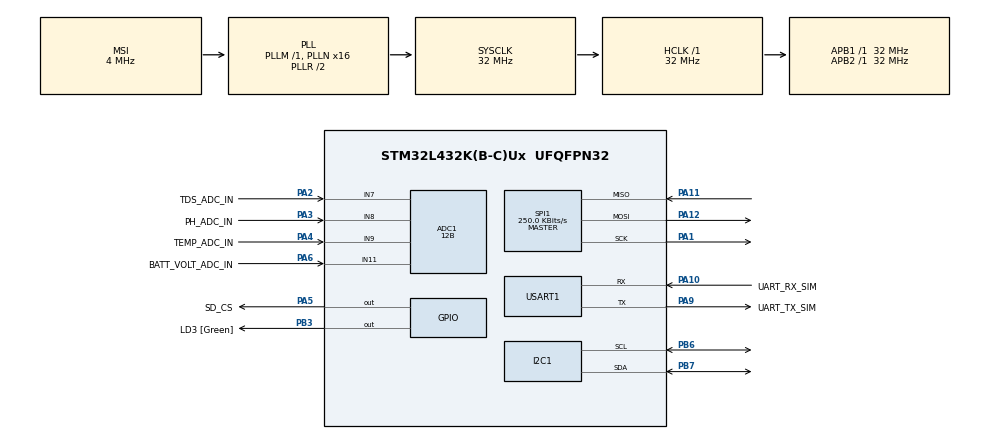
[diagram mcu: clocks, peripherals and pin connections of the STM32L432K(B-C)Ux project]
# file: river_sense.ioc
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ADC1.Channel-1\#ChannelRegularConversion=ADC_CHANNEL_7
ADC1.Channel-2\#ChannelRegularConversion=ADC_CHANNEL_8
ADC1.Channel-3\#ChannelRegularConversion=ADC_CHANNEL_9
ADC1.Channel-4\#ChannelRegularConversion=ADC_CHANNEL_11
ADC1.ContinuousConvMode=DISABLE
ADC1.NbrOfConversion=4
ADC1.NbrOfConversionFlag=1
ADC1.OffsetNumber-1\#ChannelRegularConversion=ADC_OFFSET_NONE
ADC1.OffsetNumber-2\#ChannelRegularConversion=ADC_OFFSET_NONE
ADC1.OffsetNumber-3\#ChannelRegularConversion=ADC_OFFSET_NONE
ADC1.OffsetNumber-4\#ChannelRegularConversion=ADC_OFFSET_NONE
ADC1.Rank-1\#ChannelRegularConversion=1
ADC1.Rank-2\#ChannelRegularConversion=2
ADC1.Rank-3\#ChannelRegularConversion=3
ADC1.Rank-4\#ChannelRegularConversion=4
ADC1.Resolution=ADC_RESOLUTION_12B
ADC1.SamplingTime-1\#ChannelRegularConversion=ADC_SAMPLETIME_12CYCLES_5
ADC1.SamplingTime-2\#ChannelRegularConversion=ADC_SAMPLETIME_12CYCLES_5
ADC1.SamplingTime-3\#ChannelRegularConversion=ADC_SAMPLETIME_12CYCLES_5
ADC1.SamplingTime-4\#ChannelRegularConversion=ADC_SAMPLETIME_12CYCLES_5
ADC1.master=1
Dma.ADC1.0.Direction=DMA_PERIPH_TO_MEMORY
Dma.ADC1.0.Instance=DMA1_Channel1
Dma.ADC1.0.MemDataAlignment=DMA_MDATAALIGN_HALFWORD
Dma.ADC1.0.MemInc=DMA_MINC_ENABLE
Dma.ADC1.0.Mode=DMA_NORMAL
Dma.ADC1.0.PeriphDataAlignment=DMA_PDATAALIGN_HALFWORD
Dma.ADC1.0.PeriphInc=DMA_PINC_DISABLE
Dma.ADC1.0.Priority=DMA_PRIORITY_LOW
Dma.Request0=ADC1
FATFS._CODE_PAGE=1
I2C1.Timing=0x00707CBB
Mcu.Family=STM32L4
Mcu.Name=STM32L432K(B-C)Ux
Mcu.Package=UFQFPN32
NVIC.ADC1_IRQn=true\:0\:0\:false\:false\:true\:true\:true\:true
NVIC.DMA1_Channel1_IRQn=true\:0\:0\:false\:false\:true\:false\:true\:true
NVIC.I2C1_ER_IRQn=true\:0\:0\:false\:false\:true\:true\:true\:true
NVIC.I2C1_EV_IRQn=true\:0\:0\:false\:false\:true\:true\:true\:true
NVIC.PriorityGroup=NVIC_PRIORITYGROUP_4
NVIC.RTC_Alarm_IRQn=true\:0\:0\:false\:false\:true\:true\:true\:true
NVIC.RTC_WKUP_IRQn=true\:0\:0\:false\:false\:true\:true\:true\:true
NVIC.TIM2_IRQn=true\:0\:0\:false\:false\:true\:true\:true\:true
NVIC.USART1_IRQn=true\:0\:0\:false\:false\:true\:true\:true\:true
PA0.GPIO_Label=MCO [High speed clock in]
PA0.Mode=HSE-External-Clock-Source-for-LittleOrca
PA0.Signal=RCC_CK_IN
PA1.Mode=Full_Duplex_Master
PA1.Signal=SPI1_SCK
PA10.GPIO_Label=UART_RX_SIM
PA10.Mode=Asynchronous
PA10.Signal=USART1_RX
PA11.Mode=Full_Duplex_Master
PA11.Signal=SPI1_MISO
PA12.Mode=Full_Duplex_Master
PA12.Signal=SPI1_MOSI
PA13\ (JTMS-SWDIO).GPIO_Label=SWDIO
PA13\ (JTMS-SWDIO).Mode=Serial_Wire
PA13\ (JTMS-SWDIO).Signal=SYS_JTMS-SWDIO
PA14\ (JTCK-SWCLK).GPIO_Label=SWCLK
PA14\ (JTCK-SWCLK).Mode=Serial_Wire
PA14\ (JTCK-SWCLK).Signal=SYS_JTCK-SWCLK
PA15\ (JTDI).GPIO_Label=VCP_RX
PA15\ (JTDI).Signal=USART2_RX
PA2.GPIO_Label=TDS_ADC_IN
PA2.Signal=ADCx_IN7
PA3.GPIO_Label=PH_ADC_IN
PA3.Signal=ADCx_IN8
PA4.GPIO_Label=TEMP_ADC_IN
PA4.Signal=ADCx_IN9
PA5.GPIO_Label=SD_CS
PA5.Signal=GPIO_Output
PA6.GPIO_Label=BATT_VOLT_ADC_IN
PA6.Signal=ADCx_IN11
PA9.GPIO_Label=UART_TX_SIM
PA9.Mode=Asynchronous
PA9.Signal=USART1_TX
PB3\ (JTDO-TRACESWO).GPIO_Label=LD3 [Green]
PB3\ (JTDO-TRACESWO).Signal=GPIO_Output
PB6.Mode=I2C
PB6.Signal=I2C1_SCL
PB7.Mode=I2C
PB7.Signal=I2C1_SDA
PC14-OSC32_IN\ (PC14).Mode=LSE-External-Oscillator
PC14-OSC32_IN\ (PC14).Signal=RCC_OSC32_IN
PC15-OSC32_OUT\ (PC15).Mode=LSE-External-Oscillator
PC15-OSC32_OUT\ (PC15).Signal=RCC_OSC32_OUT
ProjectManager.HeapSize=0x200
ProjectManager.StackSize=0x400
ProjectManager.TargetToolchain=STM32CubeIDE
RCC.ADCFreq_Value=32000000
RCC.AHBFreq_Value=32000000
RCC.APB1Freq_Value=32000000
RCC.APB1TimFreq_Value=32000000
RCC.APB2Freq_Value=32000000
RCC.APB2TimFreq_Value=32000000
RCC.CortexFreq_Value=32000000
RCC.HCLKFreq_Value=32000000
RCC.HSE_VALUE=8000000
RCC.HSI16_VALUE=16000000
RCC.HSI48_VALUE=48000000
RCC.HSI_VALUE=16000000
RCC.MSI_VALUE=4000000
RCC.PLLMUL=RCC_PLLMUL_4
RCC.PLLN=16
RCC.PLLSAI1N=16
RCC.RTCClockSelection=RCC_RTCCLKSOURCE_LSE
RCC.SYSCLKFreq_VALUE=32000000
RCC.SYSCLKSource=RCC_SYSCLKSOURCE_PLLCLK
RCC.USBFreq_Value=32000000
RCC.VCOOutputFreq_Value=64000000
RTC.Alarm=RTC_ALARM_A
RTC.Alarm_B=RTC_ALARM_B
RTC.Date=12
RTC.Hours=13
RTC.Hours_A=10
RTC.Minutes=15
RTC.Minutes_A=10
RTC.Month=RTC_MONTH_AUGUST
RTC.Seconds=30
RTC.Seconds_A=10
RTC.SubSeconds_A=10
RTC.WeekDay=RTC_WEEKDAY_TUESDAY
RTC.Year=97
SH.ADCx_IN11.0=ADC1_IN11,IN11-Single-Ended
SH.ADCx_IN7.0=ADC1_IN7,IN7-Single-Ended
SH.ADCx_IN8.0=ADC1_IN8,IN8-Single-Ended
SH.ADCx_IN9.0=ADC1_IN9,IN9-Single-Ended
SPI1.BaudRatePrescaler=SPI_BAUDRATEPRESCALER_128
SPI1.CalculateBaudRate=250.0 KBits/s
SPI1.DataSize=SPI_DATASIZE_8BIT
SPI1.Direction=SPI_DIRECTION_2LINES
SPI1.Mode=SPI_MODE_MASTER
SPI1.VirtualType=VM_MASTER
TIM2.Period=9999
TIM2.Prescaler=319
USART1.VirtualMode-Asynchronous=VM_ASYNC
VP_FATFS_VS_Generic.Mode=User_defined
VP_RTC_VS_RTC_Activate.Mode=RTC_Enabled
VP_RTC_VS_RTC_Alarm_A_Intern.Mode=Alarm A
VP_RTC_VS_RTC_Alarm_B_Intern.Mode=Alarm B
VP_RTC_VS_RTC_Calendar.Mode=RTC_Calendar
VP_RTC_VS_RTC_WakeUp_intern.Mode=WakeUp
VP_TIM2_VS_ClockSourceINT.Mode=Internal
board=NUCLEO-L432KC

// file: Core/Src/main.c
/* USER CODE BEGIN Header */
/**
  ******************************************************************************
  * @file           : main.c
  * @brief          : Main program body
  ******************************************************************************
  * @attention
  *
  * Copyright (c) 2022 STMicroelectronics.
  * All rights reserved.
  *
  * This software is licensed under terms that can be found in the LICENSE file
  * in the root directory of this software component.
  * If no LICENSE file comes with this software, it is provided AS-IS.
  *
  ******************************************************************************
  */
/* USER CODE END Header */
#include "main.h"
#include "fatfs.h"

/* USER CODE BEGIN Includes */
#include <string.h>
#include <stdio.h>
#include <sim7070g.h>
#include "INA219.h"
/* USER CODE END Includes */

ADC_HandleTypeDef hadc1;
DMA_HandleTypeDef hdma_adc1;

I2C_HandleTypeDef hi2c1;

RTC_HandleTypeDef hrtc;

SPI_HandleTypeDef hspi1;

TIM_HandleTypeDef htim2;

UART_HandleTypeDef huart1;

/* USER CODE BEGIN PV */
//INA219_t ina219;
//uint16_t vbus, vshunt, current = 0;
HAL_StatusTypeDef status;
//uint8_t buf[5] = {0};
extern int adrs_219;
float ina_curr = 0;
float ina_vol = 0;
float ina_pwr = 0;
float ina_shunt = 0;
uint8_t cnt = 0;
uint8_t channel=0;

// External variables begin
extern char ATcommand[80];
extern simStateType simState;
extern uint8_t serialRX_Data;
// External variables end

uint8_t ATisOK = 0;
uint8_t slot = 0;
uint8_t rx_buffer[100] = {0};
uint8_t rx_index = 0;
uint8_t rx_data;
uint8_t data_received[100] = {0};
uint8_t data_index = 0;

volatile uint8_t isLD3_Flicker = 1;

uint8_t collectDataPeriod = 0x2; // Time in minutes between data collections

char timeAfterAlarm[20] = {0};

// -- Collecting Data Flags and Variables -- //
uint32_t post_time = 0; //time between posts
uint32_t collect_time = 0; //time between data collections
volatile uint8_t collect_data_flag = 0; //should data be collected?
uint8_t time_synced_flag = 0; //has time been sync?
volatile uint8_t sim_flag = 0; //should SIM operations commence?

// -- Posting Data To RiverSense Flags and Variables -- //
volatile uint8_t make_post_flag = 0; //POST needs to be made
char formsToPost_0[TOTAL_FORMS][FORMS_LENGTH] = {0};
char formsToPost_1[TOTAL_FORMS][FORMS_LENGTH] = {0};
uint16_t formsToPost_0_Index = 0;
uint16_t formsToPost_1_Index = 0;
uint8_t currentFormArr = 0;

// -- Date and Time variables -- //
uint8_t currentDateTime[6] = {0}; // year, month, day, hour, minute, second
uint32_t alarmA_SecondsOffset = 10; // alarm to collect data
uint32_t alarmB_SecondsOffset = 60; // alarm to POST data

char currentTime[20] = {0};

// -- ADC Variables --- //
volatile uint16_t adcResultsDMA[4];
const int adcChannelCount = sizeof(adcResultsDMA) / sizeof(adcResultsDMA[0]);
uint32_t TDS_digital[10] = {0};
uint8_t TDS_digital_index = 0;
float TDS_value = 0.0;

/* USER CODE END PV */

void SystemClock_Config(void);
static void MX_GPIO_Init(void);
static void MX_DMA_Init(void);
static void MX_USART1_UART_Init(void);
static void MX_TIM2_Init(void);
static void MX_SPI1_Init(void);
static void MX_RTC_Init(void);
static void MX_ADC1_Init(void);
static void MX_I2C1_Init(void);
/* USER CODE BEGIN PFP */
void power_on_blocking(void);
void power_off_blocking(void);
void set_time(void);
void get_time(char* currentTime);
void set_alarm_A(uint32_t secondsOffset);
void set_alarm_B(uint32_t secondsOffset);
/* USER CODE END PFP */

/* USER CODE BEGIN 0 */

// ADC Callback
void HAL_ADC_ConvCpltCallback(ADC_HandleTypeDef *hadc) {
	// TODO: unpack ADC data
	TDS_digital[TDS_digital_index++] = adcResultsDMA[0];
	if (TDS_digital_index == 10) {
		uint32_t tempSum = 0;
		for (int i = 0; i < 10; ++i) {
			tempSum += TDS_digital[i];
		}
		TDS_value = tempSum/10;
		TDS_digital_index = 0;
	}

}

// UART Transmit Callback
void HAL_UART_TxCpltCallback(UART_HandleTypeDef *huart)
{
  /* Prevent unused argument(s) compilation warning */
  UNUSED(huart);
}

// UART Receive Callback
void HAL_UART_RxCpltCallback(UART_HandleTypeDef *huart) {
	if(huart->Instance==USART1) {
		SIM_serialRX_Handler(serialRX_Data);
		// Enabling interrupt receive again
		HAL_UART_Receive_IT(&huart1, &serialRX_Data, 1); // receive data (one character only)
  }

}

// TIM Callback (100ms)
void HAL_TIM_PeriodElapsedCallback(TIM_HandleTypeDef *htim) {

	// Toggle LED; Just for fun
	if (isLD3_Flicker) {
		HAL_GPIO_TogglePin(LD3_GPIO_Port, LD3_Pin);
	}
	else {
		HAL_GPIO_WritePin(LD3_GPIO_Port, LD3_Pin, GPIO_PIN_SET);
	}

	// Call SIM Module handler
	if (sim_flag) {
		if (simState == SIM_STANDBY) {
			simState = SIM_INIT;
		}
		SIM_Handler();
	}

	HAL_ADC_Start_DMA(&hadc1, (uint32_t*) adcResultsDMA, 4); // Start DMA for ADC
}

// Alarm A callback function (for reading data from sensors)
void HAL_RTC_AlarmAEventCallback(RTC_HandleTypeDef *hrtc) {
	get_time(currentTime);
	// TODO: write ADC data to forms
	if (currentFormArr==0) {
		sprintf(formsToPost_0[formsToPost_0_Index], "\"batt_%d\",\"%s,%.2f\"",formsToPost_0_Index,currentTime,TDS_value);
		++formsToPost_0_Index;
	}
	else if (currentFormArr==1) {
		sprintf(formsToPost_1[formsToPost_1_Index], "\"batt_%d\",\"%s,%.2f\"",formsToPost_1_Index,currentTime,TDS_value);
		++formsToPost_1_Index;
	}
	// TODO: write ADC data to SD card

	set_alarm_A(alarmA_SecondsOffset);
	return;
}

// Alarm B callback function (for posting data to RiverSense)
void HAL_RTCEx_AlarmBEventCallback(RTC_HandleTypeDef *hrtc) {
	make_post_flag = 1;
	sim_flag = 1;
	currentFormArr = !currentFormArr; // Switch between forms
	set_alarm_B(alarmB_SecondsOffset);
	return;
}

/* USER CODE END 0 */

int main(void)
{

  /* MCU Configuration--------------------------------------------------------*/

  /* Reset of all peripherals, Initializes the Flash interface and the Systick. */
  HAL_Init();

  /* Configure the system clock */
  SystemClock_Config();

  /* Initialize all configured peripherals */
  MX_GPIO_Init();
  MX_DMA_Init();
  MX_USART1_UART_Init();
  MX_TIM2_Init();
  MX_SPI1_Init();
  MX_FATFS_Init();
  MX_RTC_Init();
  MX_ADC1_Init();
  MX_I2C1_Init();
  /* USER CODE BEGIN 2 */
//  status = HAL_I2C_GetState(&hi2c1);
//  status = HAL_I2C_IsDeviceReady(&hi2c1, 0x40, 5, 3000);

//
//  adrs_219 = 0x40;
////  setCalibration_32V_2A();
//  setCalibration_32V_2A();
//  ina_curr = getCurrent_mA();
//  ina_vol = getBusVoltage_V();
//  ina_shunt = getShuntVoltage_mV();
//  ina_pwr = getPower_mW();

//  for (int var = 0; var < 100; ++var) {
//	adrs_219 = 0x40;
//	ina_curr = getCurrent_mA();
//	ina_vol = getBusVoltage_V();
//	ina_shunt = getShuntVoltage_mV();
//	channel = 1;
//}

//  set_time();
//
//
//
//
//  uint32_t offsetTest = 4*60 + 70;
//  set_alarm_A(offsetTest);
//
//
//	RTC_DateTypeDef cDate;
//	RTC_TimeTypeDef cTime;
//	RTC_AlarmTypeDef sAlarm;
//
//	HAL_RTC_GetAlarm(&hrtc, &sAlarm, RTC_ALARM_A, RTC_FORMAT_BIN);
//	HAL_RTC_GetTime(&hrtc, &cTime, RTC_FORMAT_BIN);
//	HAL_RTC_GetDate(&hrtc, &cDate, RTC_FORMAT_BIN);

  // Baud rate synchronization
  // SIM7000 Series_UART_ApplicationNote_V1.01 p11
  // TODO: incorporate this in a state
  HAL_UART_Transmit_IT(&huart1, (uint8_t *) "AT\r\n", strlen("AT\r\n"));
  HAL_Delay(1000);
  HAL_UART_Transmit_IT(&huart1, (uint8_t *) "AT\r\n", strlen("AT\r\n"));
  HAL_Delay(1000);

  // Enable Timer(s)
  HAL_TIM_Base_Start_IT(&htim2);

  // Start ADC from DMA
  HAL_ADC_Start_DMA(&hadc1, (uint32_t*) adcResultsDMA, 4);

//  /// -------------------- SD CARD -------------------- ///
//  // Variables for FatFs
//  FATFS FatFs; // FatFs handle
//  FIL fil; // file handle
//  FRESULT fres; // result after operations
//
//  // Open the file system
//  fres = f_mount(&FatFs, "", 1); // 1: mount now
//  if (fres != FR_OK) {
//	  isLD3_Flicker = 0; // mount error
//  }
//
//  // Get statistics for the SD card
//  DWORD free_clusters, free_sectors, total_sectors;
//
//  FATFS* getFreeFs;
//
//  fres = f_getfree("", &free_clusters, &getFreeFs);
//  if (fres != FR_OK) {
//	  isLD3_Flicker = 0; // error
//  }
//
//  // Formula from ChaN's documentation
//  total_sectors = (getFreeFs->n_fatent - 2) * getFreeFs->csize;
//  free_sectors = free_clusters * getFreeFs->csize;
////  myprintf("SD card stats:\r\n%10lu KiB total drive space.\r\n%10lu KiB available.\r\n", total_sectors / 2, free_sectors / 2);
//
//  // Open file "test.txt"
//  fres = f_open(&fil, "test.txt", FA_READ | FA_WRITE);
//  if (fres != FR_OK) {
//	  isLD3_Flicker = 0; // error opening
//  }
//
//  // Read 30 bytes from "test.txt" on the SD card
//  BYTE readBuf[100];
//
//  // Can either use f_read OR f_gets to get data out of files
//  // f_gets is a wrapper on f_read that does some string formatting :)
//  TCHAR* rres = f_gets((TCHAR*)readBuf, sizeof(readBuf), &fil);
//  if(rres != 0) {
//	  // String has been read
//	  isLD3_Flicker = 1;
//  } else {
//	  // Error
//	  isLD3_Flicker = 0;
//  }
//
//  uint8_t dataToWrite[] = "When you poop in your dreams you poop for real\n";
//  uint nWritten = 0;
//  fres = f_write(&fil, dataToWrite, sizeof(dataToWrite)-1, &nWritten);
//  if (fres != FR_OK) {
//	  isLD3_Flicker = 0; // error writing
//  }
//
//  fres = f_write(&fil, dataToWrite, sizeof(dataToWrite)-1, &nWritten);
//  if (fres != FR_OK) {
//	  isLD3_Flicker = 0; // error writing
//  }
//
//  fres = f_write(&fil, dataToWrite, sizeof(dataToWrite)-1, &nWritten);
//  if (fres != FR_OK) {
//	  isLD3_Flicker = 0; // error writing
//  }
//
//  // Close the file
//  f_close(&fil);
//  /// ------------------------------------------------- ///

  /* USER CODE END 2 */

  /* Infinite loop */
  /* USER CODE BEGIN WHILE */
  while (1) {

	  if (!time_synced_flag) { // Time should be sync from web server
		  sim_flag = 1; // SIM operations should commence
		  make_post_flag = 0; // No POST should be made
	  }

//	  snprintf(txBuf, TXBUFLEN, "CH1 = %d\tCH2 = %d\tCH3 = %d\tCH4 = %d\r\n", adcResultsDMA[0], adcResultsDMA[1], adcResultsDMA[2], adcResultsDMA[3], adcResultsDMA[4]);

    /* USER CODE END WHILE */

  }
}

void SystemClock_Config(void)
{
  RCC_OscInitTypeDef RCC_OscInitStruct = {0};
  RCC_ClkInitTypeDef RCC_ClkInitStruct = {0};

  /** Configure the main internal regulator output voltage
  */
  if (HAL_PWREx_ControlVoltageScaling(PWR_REGULATOR_VOLTAGE_SCALE1) != HAL_OK)
  {
    Error_Handler();
  }

  /** Configure LSE Drive Capability
  */
  HAL_PWR_EnableBkUpAccess();
  __HAL_RCC_LSEDRIVE_CONFIG(RCC_LSEDRIVE_LOW);

  /** Initializes the RCC Oscillators according to the specified parameters
  * in the RCC_OscInitTypeDef structure.
  */
  RCC_OscInitStruct.OscillatorType = RCC_OSCILLATORTYPE_LSE|RCC_OSCILLATORTYPE_MSI;
  RCC_OscInitStruct.LSEState = RCC_LSE_ON;
  RCC_OscInitStruct.MSIState = RCC_MSI_ON;
  RCC_OscInitStruct.MSICalibrationValue = 0;
  RCC_OscInitStruct.MSIClockRange = RCC_MSIRANGE_6;
  RCC_OscInitStruct.PLL.PLLState = RCC_PLL_ON;
  RCC_OscInitStruct.PLL.PLLSource = RCC_PLLSOURCE_MSI;
  RCC_OscInitStruct.PLL.PLLM = 1;
  RCC_OscInitStruct.PLL.PLLN = 16;
  RCC_OscInitStruct.PLL.PLLP = RCC_PLLP_DIV7;
  RCC_OscInitStruct.PLL.PLLQ = RCC_PLLQ_DIV2;
  RCC_OscInitStruct.PLL.PLLR = RCC_PLLR_DIV2;
  if (HAL_RCC_OscConfig(&RCC_OscInitStruct) != HAL_OK)
  {
    Error_Handler();
  }

  /** Initializes the CPU, AHB and APB buses clocks
  */
  RCC_ClkInitStruct.ClockType = RCC_CLOCKTYPE_HCLK|RCC_CLOCKTYPE_SYSCLK
                              |RCC_CLOCKTYPE_PCLK1|RCC_CLOCKTYPE_PCLK2;
  RCC_ClkInitStruct.SYSCLKSource = RCC_SYSCLKSOURCE_PLLCLK;
  RCC_ClkInitStruct.AHBCLKDivider = RCC_SYSCLK_DIV1;
  RCC_ClkInitStruct.APB1CLKDivider = RCC_HCLK_DIV1;
  RCC_ClkInitStruct.APB2CLKDivider = RCC_HCLK_DIV1;

  if (HAL_RCC_ClockConfig(&RCC_ClkInitStruct, FLASH_LATENCY_1) != HAL_OK)
  {
    Error_Handler();
  }

  /** Enable MSI Auto calibration
  */
  HAL_RCCEx_EnableMSIPLLMode();
}

static void MX_ADC1_Init(void)
{

  ADC_ChannelConfTypeDef sConfig = {0};

  /** Common config
  */
  hadc1.Instance = ADC1;
  hadc1.Init.ClockPrescaler = ADC_CLOCK_ASYNC_DIV1;
  hadc1.Init.Resolution = ADC_RESOLUTION_12B;
  hadc1.Init.DataAlign = ADC_DATAALIGN_RIGHT;
  hadc1.Init.ScanConvMode = ADC_SCAN_ENABLE;
  hadc1.Init.EOCSelection = ADC_EOC_SINGLE_CONV;
  hadc1.Init.LowPowerAutoWait = DISABLE;
  hadc1.Init.ContinuousConvMode = DISABLE;
  hadc1.Init.NbrOfConversion = 4;
  hadc1.Init.DiscontinuousConvMode = DISABLE;
  hadc1.Init.ExternalTrigConv = ADC_SOFTWARE_START;
  hadc1.Init.ExternalTrigConvEdge = ADC_EXTERNALTRIGCONVEDGE_NONE;
  hadc1.Init.DMAContinuousRequests = DISABLE;
  hadc1.Init.Overrun = ADC_OVR_DATA_PRESERVED;
  hadc1.Init.OversamplingMode = DISABLE;
  if (HAL_ADC_Init(&hadc1) != HAL_OK)
  {
    Error_Handler();
  }

  /** Configure Regular Channel
  */
  sConfig.Channel = ADC_CHANNEL_7;
  sConfig.Rank = ADC_REGULAR_RANK_1;
  sConfig.SamplingTime = ADC_SAMPLETIME_12CYCLES_5;
  sConfig.SingleDiff = ADC_SINGLE_ENDED;
  sConfig.OffsetNumber = ADC_OFFSET_NONE;
  sConfig.Offset = 0;
  if (HAL_ADC_ConfigChannel(&hadc1, &sConfig) != HAL_OK)
  {
    Error_Handler();
  }

  /** Configure Regular Channel
  */
  sConfig.Channel = ADC_CHANNEL_8;
  sConfig.Rank = ADC_REGULAR_RANK_2;
  if (HAL_ADC_ConfigChannel(&hadc1, &sConfig) != HAL_OK)
  {
    Error_Handler();
  }

  /** Configure Regular Channel
  */
  sConfig.Channel = ADC_CHANNEL_9;
  sConfig.Rank = ADC_REGULAR_RANK_3;
  if (HAL_ADC_ConfigChannel(&hadc1, &sConfig) != HAL_OK)
  {
    Error_Handler();
  }

  /** Configure Regular Channel
  */
  sConfig.Channel = ADC_CHANNEL_11;
  sConfig.Rank = ADC_REGULAR_RANK_4;
  if (HAL_ADC_ConfigChannel(&hadc1, &sConfig) != HAL_OK)
  {
    Error_Handler();
  }

}

static void MX_I2C1_Init(void)
{

  hi2c1.Instance = I2C1;
  hi2c1.Init.Timing = 0x00707CBB;
  hi2c1.Init.OwnAddress1 = 0;
  hi2c1.Init.AddressingMode = I2C_ADDRESSINGMODE_7BIT;
  hi2c1.Init.DualAddressMode = I2C_DUALADDRESS_DISABLE;
  hi2c1.Init.OwnAddress2 = 0;
  hi2c1.Init.OwnAddress2Masks = I2C_OA2_NOMASK;
  hi2c1.Init.GeneralCallMode = I2C_GENERALCALL_DISABLE;
  hi2c1.Init.NoStretchMode = I2C_NOSTRETCH_DISABLE;
  if (HAL_I2C_Init(&hi2c1) != HAL_OK)
  {
    Error_Handler();
  }

  /** Configure Analogue filter
  */
  if (HAL_I2CEx_ConfigAnalogFilter(&hi2c1, I2C_ANALOGFILTER_ENABLE) != HAL_OK)
  {
    Error_Handler();
  }

  /** Configure Digital filter
  */
  if (HAL_I2CEx_ConfigDigitalFilter(&hi2c1, 0) != HAL_OK)
  {
    Error_Handler();
  }

}

static void MX_RTC_Init(void)
{

  RTC_TimeTypeDef sTime = {0};
  RTC_DateTypeDef sDate = {0};
  RTC_AlarmTypeDef sAlarm = {0};

  /** Initialize RTC Only
  */
  hrtc.Instance = RTC;
  hrtc.Init.HourFormat = RTC_HOURFORMAT_24;
  hrtc.Init.AsynchPrediv = 127;
  hrtc.Init.SynchPrediv = 255;
  hrtc.Init.OutPut = RTC_OUTPUT_DISABLE;
  hrtc.Init.OutPutRemap = RTC_OUTPUT_REMAP_NONE;
  hrtc.Init.OutPutPolarity = RTC_OUTPUT_POLARITY_HIGH;
  hrtc.Init.OutPutType = RTC_OUTPUT_TYPE_OPENDRAIN;
  if (HAL_RTC_Init(&hrtc) != HAL_OK)
  {
    Error_Handler();
  }

  /** Initialize RTC and set the Time and Date
  */
  sTime.Hours = 0x13;
  sTime.Minutes = 0x15;
  sTime.Seconds = 0x30;
  sTime.DayLightSaving = RTC_DAYLIGHTSAVING_NONE;
  sTime.StoreOperation = RTC_STOREOPERATION_RESET;
  if (HAL_RTC_SetTime(&hrtc, &sTime, RTC_FORMAT_BCD) != HAL_OK)
  {
    Error_Handler();
  }
  sDate.WeekDay = RTC_WEEKDAY_TUESDAY;
  sDate.Month = RTC_MONTH_AUGUST;
  sDate.Date = 0x12;
  sDate.Year = 0x97;

  if (HAL_RTC_SetDate(&hrtc, &sDate, RTC_FORMAT_BCD) != HAL_OK)
  {
    Error_Handler();
  }

  /** Enable the Alarm A
  */
  sAlarm.AlarmTime.Hours = 0x10;
  sAlarm.AlarmTime.Minutes = 0x10;
  sAlarm.AlarmTime.Seconds = 0x10;
  sAlarm.AlarmTime.SubSeconds = 0x10;
  sAlarm.AlarmTime.DayLightSaving = RTC_DAYLIGHTSAVING_NONE;
  sAlarm.AlarmTime.StoreOperation = RTC_STOREOPERATION_RESET;
  sAlarm.AlarmMask = RTC_ALARMMASK_NONE;
  sAlarm.AlarmSubSecondMask = RTC_ALARMSUBSECONDMASK_ALL;
  sAlarm.AlarmDateWeekDaySel = RTC_ALARMDATEWEEKDAYSEL_DATE;
  sAlarm.AlarmDateWeekDay = 0x1;
  sAlarm.Alarm = RTC_ALARM_A;
  if (HAL_RTC_SetAlarm_IT(&hrtc, &sAlarm, RTC_FORMAT_BCD) != HAL_OK)
  {
    Error_Handler();
  }

  /** Enable the Alarm B
  */
  sAlarm.AlarmTime.Hours = 0x0;
  sAlarm.AlarmTime.Minutes = 0x0;
  sAlarm.AlarmTime.Seconds = 0x0;
  sAlarm.AlarmTime.SubSeconds = 0x0;
  sAlarm.Alarm = RTC_ALARM_B;
  if (HAL_RTC_SetAlarm_IT(&hrtc, &sAlarm, RTC_FORMAT_BCD) != HAL_OK)
  {
    Error_Handler();
  }

}

static void MX_SPI1_Init(void)
{

  /* SPI1 parameter configuration*/
  hspi1.Instance = SPI1;
  hspi1.Init.Mode = SPI_MODE_MASTER;
  hspi1.Init.Direction = SPI_DIRECTION_2LINES;
  hspi1.Init.DataSize = SPI_DATASIZE_8BIT;
  hspi1.Init.CLKPolarity = SPI_POLARITY_LOW;
  hspi1.Init.CLKPhase = SPI_PHASE_1EDGE;
  hspi1.Init.NSS = SPI_NSS_SOFT;
  hspi1.Init.BaudRatePrescaler = SPI_BAUDRATEPRESCALER_128;
  hspi1.Init.FirstBit = SPI_FIRSTBIT_MSB;
  hspi1.Init.TIMode = SPI_TIMODE_DISABLE;
  hspi1.Init.CRCCalculation = SPI_CRCCALCULATION_DISABLE;
  hspi1.Init.CRCPolynomial = 7;
  hspi1.Init.CRCLength = SPI_CRC_LENGTH_DATASIZE;
  hspi1.Init.NSSPMode = SPI_NSS_PULSE_ENABLE;
  if (HAL_SPI_Init(&hspi1) != HAL_OK)
  {
    Error_Handler();
  }

}

static void MX_TIM2_Init(void)
{

  TIM_ClockConfigTypeDef sClockSourceConfig = {0};
  TIM_MasterConfigTypeDef sMasterConfig = {0};

  htim2.Instance = TIM2;
  htim2.Init.Prescaler = 319;
  htim2.Init.CounterMode = TIM_COUNTERMODE_UP;
  htim2.Init.Period = 9999;
  htim2.Init.ClockDivision = TIM_CLOCKDIVISION_DIV1;
  htim2.Init.AutoReloadPreload = TIM_AUTORELOAD_PRELOAD_DISABLE;
  if (HAL_TIM_Base_Init(&htim2) != HAL_OK)
  {
    Error_Handler();
  }
  sClockSourceConfig.ClockSource = TIM_CLOCKSOURCE_INTERNAL;
  if (HAL_TIM_ConfigClockSource(&htim2, &sClockSourceConfig) != HAL_OK)
  {
    Error_Handler();
  }
  sMasterConfig.MasterOutputTrigger = TIM_TRGO_RESET;
  sMasterConfig.MasterSlaveMode = TIM_MASTERSLAVEMODE_DISABLE;
  if (HAL_TIMEx_MasterConfigSynchronization(&htim2, &sMasterConfig) != HAL_OK)
  {
    Error_Handler();
  }

}

static void MX_USART1_UART_Init(void)
{

  huart1.Instance = USART1;
  huart1.Init.BaudRate = 115200;
  huart1.Init.WordLength = UART_WORDLENGTH_8B;
  huart1.Init.StopBits = UART_STOPBITS_1;
  huart1.Init.Parity = UART_PARITY_NONE;
  huart1.Init.Mode = UART_MODE_TX_RX;
  huart1.Init.HwFlowCtl = UART_HWCONTROL_NONE;
  huart1.Init.OverSampling = UART_OVERSAMPLING_16;
  huart1.Init.OneBitSampling = UART_ONE_BIT_SAMPLE_DISABLE;
  huart1.AdvancedInit.AdvFeatureInit = UART_ADVFEATURE_NO_INIT;
  if (HAL_UART_Init(&huart1) != HAL_OK)
  {
    Error_Handler();
  }

}

static void MX_DMA_Init(void)
{

  /* DMA controller clock enable */
  __HAL_RCC_DMA1_CLK_ENABLE();

  /* DMA interrupt init */
  /* DMA1_Channel1_IRQn interrupt configuration */
  HAL_NVIC_SetPriority(DMA1_Channel1_IRQn, 0, 0);
  HAL_NVIC_EnableIRQ(DMA1_Channel1_IRQn);

}

static void MX_GPIO_Init(void)
{
  GPIO_InitTypeDef GPIO_InitStruct = {0};

  /* GPIO Ports Clock Enable */
  __HAL_RCC_GPIOC_CLK_ENABLE();
  __HAL_RCC_GPIOA_CLK_ENABLE();
  __HAL_RCC_GPIOB_CLK_ENABLE();

  /*Configure GPIO pin Output Level */
  HAL_GPIO_WritePin(SD_CS_GPIO_Port, SD_CS_Pin, GPIO_PIN_RESET);

  /*Configure GPIO pin Output Level */
  HAL_GPIO_WritePin(LD3_GPIO_Port, LD3_Pin, GPIO_PIN_RESET);

  /*Configure GPIO pin : SD_CS_Pin */
  GPIO_InitStruct.Pin = SD_CS_Pin;
  GPIO_InitStruct.Mode = GPIO_MODE_OUTPUT_PP;
  GPIO_InitStruct.Pull = GPIO_NOPULL;
  GPIO_InitStruct.Speed = GPIO_SPEED_FREQ_LOW;
  HAL_GPIO_Init(SD_CS_GPIO_Port, &GPIO_InitStruct);

  /*Configure GPIO pin : VCP_RX_Pin */
  GPIO_InitStruct.Pin = VCP_RX_Pin;
  GPIO_InitStruct.Mode = GPIO_MODE_AF_PP;
  GPIO_InitStruct.Pull = GPIO_NOPULL;
  GPIO_InitStruct.Speed = GPIO_SPEED_FREQ_VERY_HIGH;
  GPIO_InitStruct.Alternate = GPIO_AF3_USART2;
  HAL_GPIO_Init(VCP_RX_GPIO_Port, &GPIO_InitStruct);

  /*Configure GPIO pin : LD3_Pin */
  GPIO_InitStruct.Pin = LD3_Pin;
  GPIO_InitStruct.Mode = GPIO_MODE_OUTPUT_PP;
  GPIO_InitStruct.Pull = GPIO_NOPULL;
  GPIO_InitStruct.Speed = GPIO_SPEED_FREQ_LOW;
  HAL_GPIO_Init(LD3_GPIO_Port, &GPIO_InitStruct);

}

/* USER CODE BEGIN 4 */

// Set time of RTC
void set_time(void) {
	RTC_TimeTypeDef sTime;
	RTC_DateTypeDef sDate;

	sDate.Year = currentDateTime[0]; // For some reason the date is off by 8 years (TODO: Fix)
	sDate.Month = currentDateTime[1];
	sDate.Date = currentDateTime[2];
	sTime.Hours = currentDateTime[3];
	sTime.Minutes = currentDateTime[4];
	sTime.Seconds = currentDateTime[5];
	sTime.DayLightSaving = RTC_DAYLIGHTSAVING_NONE;
	sTime.StoreOperation = RTC_STOREOPERATION_RESET;
//	sDate.WeekDay = RTC_WEEKDAY_THURSDAY; // day
//	sDate.Month = RTC_MONTH_AUGUST; // month

	HAL_RTC_SetTime(&hrtc, &sTime, RTC_FORMAT_BIN);
	HAL_RTC_SetDate(&hrtc, &sDate, RTC_FORMAT_BIN);
	HAL_RTCEx_BKUPWrite(&hrtc, RTC_BKP_DR1, 0x32F2); // backup register (random value being written now)
	return;
}

// Get time of RTC
void get_time(char* currentTime) {

	RTC_DateTypeDef gDate;
	RTC_TimeTypeDef gTime;
	// Get the RTC current Time
	HAL_RTC_GetTime(&hrtc, &gTime, RTC_FORMAT_BIN);
	//  Get the RTC current Date
	HAL_RTC_GetDate(&hrtc, &gDate, RTC_FORMAT_BIN);

//	sprintf(currentTime, "%d-%02d-%02d %02d:%02d:%02d", 2000+gDate.Year, gDate.Month, gDate.Date, gTime.Hours, gTime.Minutes, gTime.Seconds);
	sprintf(currentTime, "%d-%02d-%02d %02d:%02d:%02d", 2022, gDate.Month, gDate.Date, gTime.Hours, gTime.Minutes, gTime.Seconds);
	return;
}

// Set Alarm A
void set_alarm_A(uint32_t secondsOffset) {
	RTC_DateTypeDef cDate;
	RTC_TimeTypeDef cTime;
	RTC_AlarmTypeDef sAlarm;

	// Get RTC current date and time
	HAL_RTC_GetTime(&hrtc, &cTime, RTC_FORMAT_BIN);
	HAL_RTC_GetDate(&hrtc, &cDate, RTC_FORMAT_BIN);

	// Convert secondsOffset to hours, minutes, seconds according to current time
	secondsOffset += cTime.Hours*3600 + cTime.Minutes*60 + cTime.Seconds;
	uint8_t hr_offset = (uint8_t) (secondsOffset/3600);
	uint8_t min_offset = (uint8_t) ((secondsOffset-3600.0*hr_offset)/60.0);
	uint8_t sec_offset = (uint8_t) (secondsOffset-3600*hr_offset-60*min_offset);
	// TODO: adjust time for going into next date as well

	// Set alarm A to current date and time + offset provided
	sAlarm.AlarmTime.Hours = hr_offset;
	sAlarm.AlarmTime.Minutes = min_offset;
	sAlarm.AlarmTime.Seconds = sec_offset;
	sAlarm.AlarmTime.SubSeconds = 0;
	sAlarm.AlarmTime.DayLightSaving = RTC_DAYLIGHTSAVING_NONE;
	sAlarm.AlarmTime.StoreOperation = RTC_STOREOPERATION_RESET;
	sAlarm.AlarmMask = RTC_ALARMMASK_NONE;
	sAlarm.AlarmSubSecondMask = RTC_ALARMSUBSECONDMASK_ALL;
	sAlarm.AlarmDateWeekDaySel = RTC_ALARMDATEWEEKDAYSEL_DATE;
	sAlarm.AlarmDateWeekDay = cDate.Date;
	sAlarm.Alarm = RTC_ALARM_A;
	HAL_RTC_SetAlarm_IT(&hrtc, &sAlarm, RTC_FORMAT_BIN);

	return;
}

// Set Alarm B
void set_alarm_B(uint32_t secondsOffset) {
	RTC_DateTypeDef cDate;
	RTC_TimeTypeDef cTime;
	RTC_AlarmTypeDef sAlarm;

	// Get RTC current date and time
	HAL_RTC_GetTime(&hrtc, &cTime, RTC_FORMAT_BIN);
	HAL_RTC_GetDate(&hrtc, &cDate, RTC_FORMAT_BIN);

	// Convert secondsOffset to hours, minutes, seconds according to current time
	secondsOffset += cTime.Hours*3600 + cTime.Minutes*60 + cTime.Seconds;
	uint8_t hr_offset = (uint8_t) (secondsOffset/3600);
	uint8_t min_offset = (uint8_t) ((secondsOffset-3600.0*hr_offset)/60.0);
	uint8_t sec_offset = (uint8_t) (secondsOffset-3600*hr_offset-60*min_offset);
	// TODO: adjust time for going into next date as well

	// Set alarm B to current date and time + offset provided
	sAlarm.AlarmTime.Hours = hr_offset;
	sAlarm.AlarmTime.Minutes = min_offset;
	sAlarm.AlarmTime.Seconds = sec_offset;
	sAlarm.AlarmTime.SubSeconds = 0;
	sAlarm.AlarmTime.DayLightSaving = RTC_DAYLIGHTSAVING_NONE;
	sAlarm.AlarmTime.StoreOperation = RTC_STOREOPERATION_RESET;
	sAlarm.AlarmMask = RTC_ALARMMASK_NONE;
	sAlarm.AlarmSubSecondMask = RTC_ALARMSUBSECONDMASK_ALL;
	sAlarm.AlarmDateWeekDaySel = RTC_ALARMDATEWEEKDAYSEL_DATE;
	sAlarm.AlarmDateWeekDay = cDate.Date;
	sAlarm.Alarm = RTC_ALARM_B;
	HAL_RTC_SetAlarm_IT(&hrtc, &sAlarm, RTC_FORMAT_BIN);

	return;
}

/* USER CODE END 4 */

void Error_Handler(void)
{
  __disable_irq();
  while (1)
  {
  }
}
